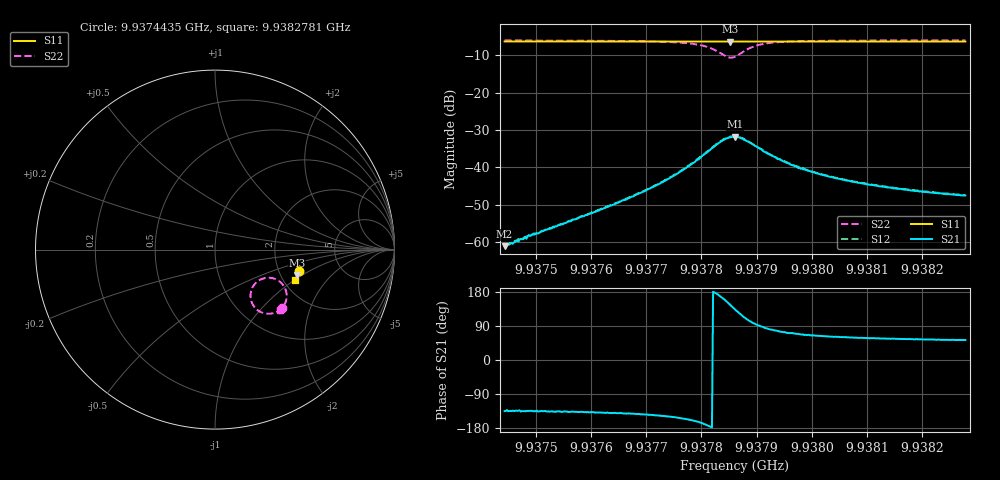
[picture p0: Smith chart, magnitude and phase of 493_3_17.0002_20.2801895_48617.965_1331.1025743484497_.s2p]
#  HZ  S  RI  R  50.00
! Rohde & Schwarz Vector Network Analyzer
! Rohde-Schwarz,ZNB20-2Port,1311601062101988,3.16
! Created: UTC 3/20/2024, 11:14:11 PM
! freq[Hz]  re:S11  im:S11  re:S21  im:S21  re:S12  im:S12  re:S22  im:S22
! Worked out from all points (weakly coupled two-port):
!   401 points, 9.9374435 GHz to 9.9382781 GHz, reference 50 ohm
!   highest |S21| = -31.78 dB at 9.9378608 GHz (marker M1); lowest = -61.0 dB at 9.9374435 GHz (marker M2)
!   lowest |S11| = -6.4 dB at 9.9378525 GHz (marker M3), VSWR 2.83, Z = 122 - j45.3 ohm
!   |S11| at or under -10 dB: nowhere
!   |S22| runs from -10.7 to -6.1 dB; largest |S21 - S12| = 0.0012
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9.93744354e9  0.4684 -0.1179  -0.000626 -0.00063  -0.00061 -0.00068  0.3747 -0.3264
9.93747901e9  0.4676 -0.1203  -0.000797 -0.000807  -0.000822 -0.000825  0.3715 -0.3293
9.93749153e9  0.4672 -0.1211  -0.000862 -0.000882  -0.000896 -0.000888  0.3702 -0.3303
9.93750196e9  0.4671 -0.1219  -0.000903 -0.000947  -0.000964 -0.000908  0.369 -0.3312
9.93758333e9  0.4652 -0.1272  -0.0016 -0.00151  -0.00167 -0.0015  0.3589 -0.3386
9.9376647e9  0.4632 -0.1328  -0.00296 -0.00234  -0.00304 -0.00238  0.3433 -0.3476
9.93772311e9  0.4616 -0.1367  -0.00499 -0.00332  -0.00519 -0.00331  0.3225 -0.3551
9.93776276e9  0.4603 -0.1395  -0.00795 -0.00398  -0.00816 -0.0039  0.2967 -0.3579
9.93780657e9  0.4585 -0.1422  -0.0149 -0.0028  -0.0153 -0.00259  0.2408 -0.3398
9.93782117e9  0.4575 -0.143  -0.0185 7.66e-06  -0.0189 0.000217  0.2153 -0.3142
9.93783578e9  0.4568 -0.1433  -0.0217 0.00523  -0.0219 0.00601  0.1983 -0.2667
9.93785247e9  0.4562 -0.1433  -0.0207 0.0146  -0.0208 0.0155  0.2186 -0.1956
9.93786081e9  0.4564 -0.1433  -0.0178 0.0186  -0.0175 0.0194  0.2498 -0.1692
9.93787125e9  0.4567 -0.1435  -0.0124 0.0213  -0.0118 0.022  0.2956 -0.1567
9.93788585e9  0.457 -0.1445  -0.00532 0.0213  -0.00488 0.0216  0.3486 -0.1699
9.93791089e9  0.4574 -0.1464  0.000766 0.0167  0.00152 0.017  0.3898 -0.2146
9.93793384e9  0.4571 -0.1483  0.00285 0.0134  0.00312 0.0134  0.3989 -0.2461
9.93795887e9  0.4565 -0.1502  0.00369 0.0106  0.00383 0.0107  0.3989 -0.2692
9.9380006e9  0.4555 -0.1532  0.00366 0.00791  0.00388 0.00791  0.3934 -0.2922
9.93806528e9  0.454 -0.1576  0.00335 0.00576  0.00351 0.00573  0.3844 -0.3115
9.93814038e9  0.452 -0.1624  0.003 0.00448  0.00309 0.00446  0.3761 -0.3244
9.93827808e9  0.448 -0.1713  0.00256 0.00335  0.00264 0.00333  0.3639 -0.3388
